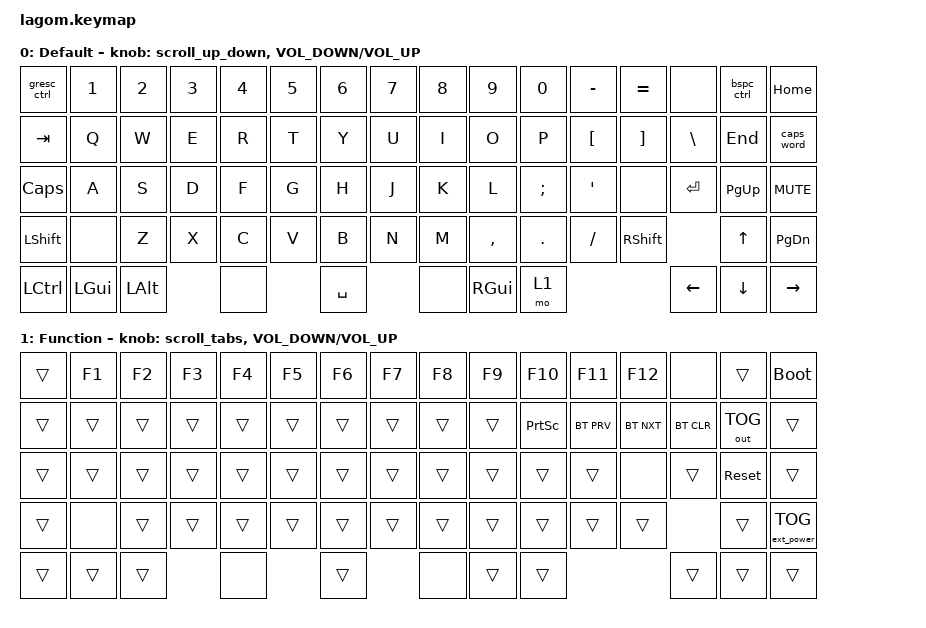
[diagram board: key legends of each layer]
#include <behaviors.dtsi>
#include <dt-bindings/zmk/keys.h>
#include <dt-bindings/zmk/bt.h>
#include <dt-bindings/zmk/outputs.h>
#include <dt-bindings/zmk/ext_power.h>

#define ZMK_POINTING_DEFAULT_SCRL_VAL 140 
#include <dt-bindings/zmk/pointing.h>

/ {
    behaviors {
        gresc_shift: grave_escape_shift {
            compatible = "zmk,behavior-mod-morph";
            #binding-cells = <0>;
            bindings = <&kp ESC>, <&mt MOD_LSFT GRAVE>;
            mods = <(MOD_LSFT|MOD_RSFT)>;
            keep-mods = <(MOD_LSFT|MOD_RSFT)>;
        };
        gresc_ctrl: grave_escape_ctrl {
            compatible = "zmk,behavior-mod-morph";
            #binding-cells = <0>;
            bindings = <&gresc_shift>, <&kp GRAVE>;
            mods = <(MOD_LCTL|MOD_RCTL)>;
        };
        bspc_shift: backspace_shift {
            compatible = "zmk,behavior-mod-morph";
            #binding-cells = <0>;
            bindings = <&kp BACKSPACE>, <&mt MOD_LSFT DELETE>;
            mods = <(MOD_LSFT|MOD_RSFT)>;
            keep-mods = <(MOD_LSFT|MOD_RSFT)>;
        };
        bspc_ctrl: backspace_ctrl {
            compatible = "zmk,behavior-mod-morph";
            #binding-cells = <0>;
            bindings = <&bspc_shift>, <&kp DELETE>;
            mods = <(MOD_LCTL|MOD_RCTL)>;
        };
        scroll_up_down: behavior_sensor_rotate_mouse_wheel_up_down {
	        compatible = "zmk,behavior-sensor-rotate";
	        #sensor-binding-cells = <0>;
            bindings = <&msc SCRL_UP>, <&msc SCRL_DOWN>;
            tap-ms = <20>;
        };
        scroll_tabs: behavior_sensor_scroll_tabs_left_right {
            compatible = "zmk,behavior-sensor-rotate";
	        #sensor-binding-cells = <0>;
            bindings = <&kp LC(PG_DN)>, <&kp LC(PG_UP)>;
        };
    };

    sensors: sensors {
        compatible = "zmk,keymap-sensors";
        sensors = <&encoder_1 &encoder_2>;
        triggers-per-rotation = <20>;
    };
    
    keymap {
        compatible = "zmk,keymap";

        default_layer {
            display-name = "Default";

            sensor-bindings = <&scroll_up_down &inc_dec_kp C_VOLUME_DOWN C_VOLUME_UP>;

            bindings = <
            &gresc_ctrl      &kp N1    &kp N2    &kp N3  &kp N4  &kp N5  &kp N6     &kp N7  &kp N8     &kp N9    &kp N0     &kp MINUS   &kp EQUAL   &none &bspc_ctrl   &kp HOME
            &kp TAB          &kp Q     &kp W     &kp E   &kp R   &kp T   &kp Y      &kp U   &kp I      &kp O     &kp P      &kp LBKT    &kp RBKT          &kp BSLH     &kp END        &caps_word // left encoder button
            &kp CAPS         &kp A     &kp S     &kp D   &kp F   &kp G   &kp H      &kp J   &kp K      &kp L     &kp SEMI   &kp SQT     &none &kp RET                  &kp PAGE_UP    &kp C_MUTE // right encoder button
            &kp LSHFT &none  &kp Z     &kp X     &kp C   &kp V   &kp B   &kp N      &kp M   &kp COMMA  &kp DOT   &kp FSLH   &kp RSHFT                     &kp UP       &kp PAGE_DOWN
            &kp LCTRL        &kp LGUI  &kp LALT          &none           &kp SPACE          &none      &kp RGUI  &mo 1                          &kp LEFT  &kp DOWN     &kp RIGHT
            >;
        };

        fn_layer {
            display-name = "Function";

            sensor-bindings = <&scroll_tabs &inc_dec_kp C_VOLUME_DOWN C_VOLUME_UP>;

            bindings = <
            &trans           &kp F1    &kp F2    &kp F3  &kp F4  &kp F5  &kp F6     &kp F7  &kp F8     &kp F9    &kp F10    &kp F11     &kp F12      &none &trans      &bootloader
            &trans           &trans    &trans    &trans  &trans  &trans  &trans     &trans  &trans     &trans    &kp PSCRN  &bt BT_PRV  &bt BT_NXT         &bt BT_CLR  &out OUT_TOG   &trans
            &trans           &trans    &trans    &trans  &trans  &trans  &trans     &trans  &trans     &trans    &trans     &trans      &none &trans                   &sys_reset     &trans
            &trans &none     &trans    &trans    &trans  &trans  &trans  &trans     &trans  &trans     &trans    &trans     &trans                         &trans      &ext_power EP_TOG
            &trans           &trans    &trans            &none           &trans             &none      &trans    &trans                         &trans     &trans      &trans
            >;
        };
    };
};
